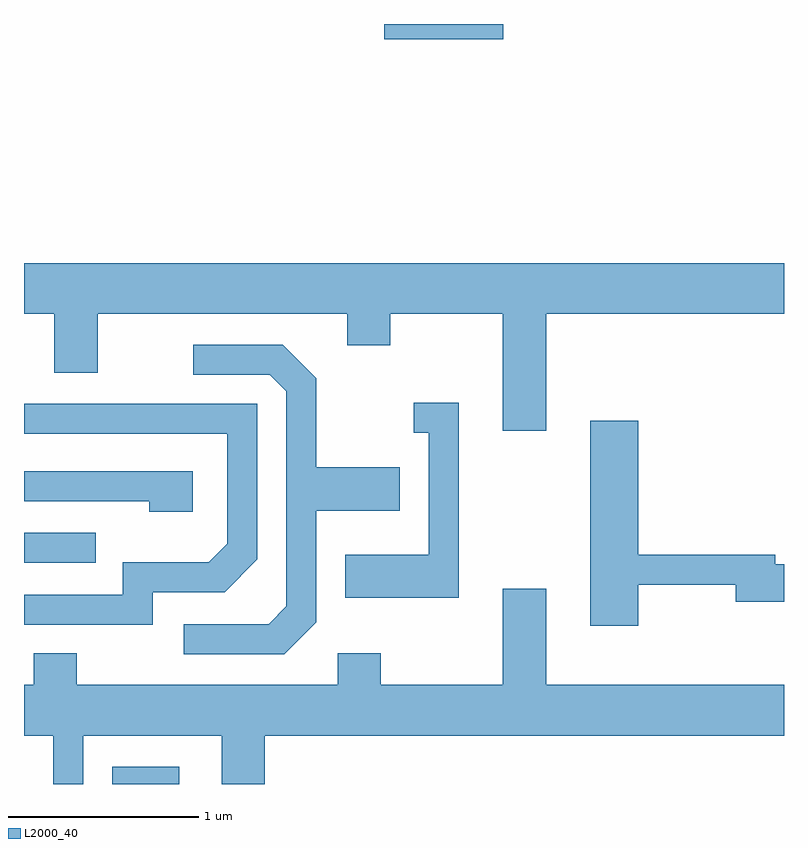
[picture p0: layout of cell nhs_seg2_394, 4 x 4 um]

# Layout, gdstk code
import gdstk
lib = gdstk.Library(unit=1e-6, precision=1e-09)
def R(c, l, rs):  # rectangles x0, y0, x1, y1
    for r in rs: c.add(gdstk.rectangle(r[:2], r[2:], *l))
def P(c, l, *ps):  # polygons
    for p in ps: c.add(gdstk.Polygon(p, *l))
L2000_40 = (2000, 40)

nhs_seg2_394 = lib.new_cell('nhs_seg2_394')
R(nhs_seg2_394, L2000_40, [(196.076,1085.802,196.428,1085.894), (195.611,1086.966,195.988,1087.124), (197.506,1089.721,198.134,1089.802)])
P(nhs_seg2_394, L2000_40, [(198.359,1088.276),(199.611,1088.276),(199.611,1088.544),(195.611,1088.544),(195.611,1088.276),(195.771,1088.276),(195.771,1087.966),(195.999,1087.966),(195.999,1088.276),(197.311,1088.276),(197.311,1088.111),(197.539,1088.111),(197.539,1088.276),(198.131,1088.276),(198.131,1087.661),(198.359,1087.661)],
  [(197.149,1086.654),(197.149,1087.241),(197.589,1087.241),(197.589,1087.469),(197.149,1087.469),(197.149,1087.937),(196.972,1088.114),(196.503,1088.114),(196.503,1087.956),(196.904,1087.956),(196.991,1087.869),(196.991,1086.737),(196.899,1086.644),(196.453,1086.644),(196.453,1086.486),(196.982,1086.486)],
  [(197.899,1087.809),(197.663,1087.809),(197.663,1087.651),(197.741,1087.651),(197.741,1087.009),(197.301,1087.009),(197.301,1086.781),(197.899,1086.781)],
  [(196.289,1086.811),(196.667,1086.811),(196.839,1086.984),(196.839,1087.804),(195.611,1087.804),(195.611,1087.646),(196.681,1087.646),(196.681,1087.067),(196.584,1086.969),(196.131,1086.969),(196.131,1086.799),(195.611,1086.799),(195.611,1086.641),(196.289,1086.641)],
  [(198.844,1086.851),(199.356,1086.851),(199.356,1086.761),(199.611,1086.761),(199.611,1086.959),(199.564,1086.959),(199.564,1087.009),(198.844,1087.009),(198.844,1087.714),(198.591,1087.714),(198.591,1086.636),(198.844,1086.636)],
  [(196.499,1087.449),(195.611,1087.449),(195.611,1087.291),(196.271,1087.291),(196.271,1087.236),(196.499,1087.236)],
  [(195.924,1086.056),(196.651,1086.056),(196.651,1085.802),(196.879,1085.802),(196.879,1086.056),(199.611,1086.056),(199.611,1086.324),(198.359,1086.324),(198.359,1086.829),(198.131,1086.829),(198.131,1086.324),(197.489,1086.324),(197.489,1086.489),(197.261,1086.489),(197.261,1086.324),(195.889,1086.324),(195.889,1086.489),(195.661,1086.489),(195.661,1086.324),(195.611,1086.324),(195.611,1086.056),(195.766,1086.056),(195.766,1085.802),(195.924,1085.802)])

lib.write_gds('nhs_seg2_394.gds')
